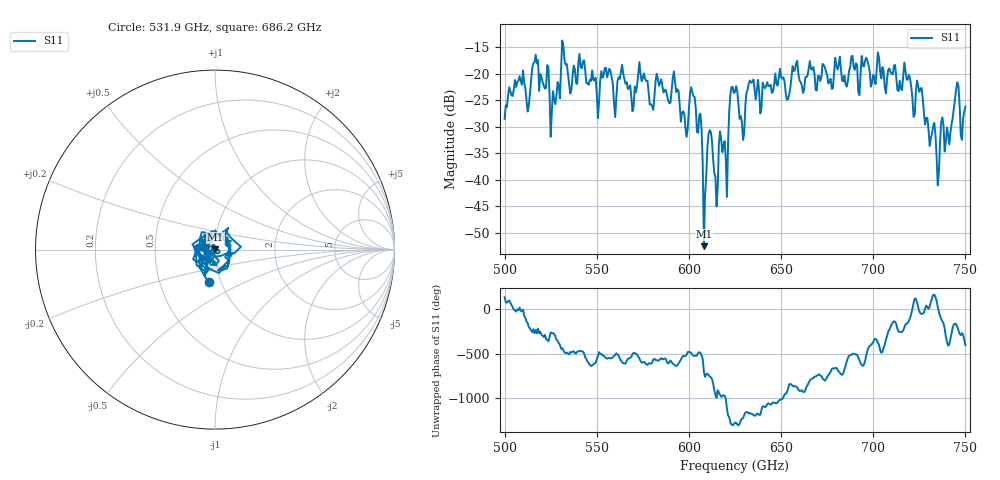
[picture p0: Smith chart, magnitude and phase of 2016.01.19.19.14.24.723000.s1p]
!Created with skrf (http://scikit-rf.org).
# GHz S RI R 50.0
!freq ReS11 ImS11
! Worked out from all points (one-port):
!   401 points, 500 GHz to 750 GHz, reference 50 ohm
!   lowest |S11| = -52.5 dB at 608.1 GHz (marker M1), VSWR 1.00, Z = 50.2 + j0.0725 ohm
!   |S11| at or under -10 dB: start of sweep to end of sweep
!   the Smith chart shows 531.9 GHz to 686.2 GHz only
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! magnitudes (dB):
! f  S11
! 500 GHz  -28.5
! 508.8 GHz  -21.2
! 513.1 GHz  -26.0
! 516.9 GHz  -16.3
! 526.2 GHz  -23.3
! 531.2 GHz  -13.7
! 550 GHz  -23.6
! 562.5 GHz  -20.9
! 593.8 GHz  -22.9
! 598.1 GHz  -30.2
! 602.5 GHz  -24.2
! 606.2 GHz  -27.5
! 608.1 GHz  -52.5
! 611.2 GHz  -30.6
! 614.4 GHz  -39.4
! 617.5 GHz  -32.3
! 620 GHz  -36.1
! 623.1 GHz  -22.5
! 625 GHz  -23.4
! 628.8 GHz  -29.1
! 633.8 GHz  -21.7
! 656.2 GHz  -18.5
! 687.5 GHz  -18.6
! 718.8 GHz  -21.1
! 725 GHz  -23.4
! 735 GHz  -41.0
! 745 GHz  -22.9
! 750 GHz  -26.2
